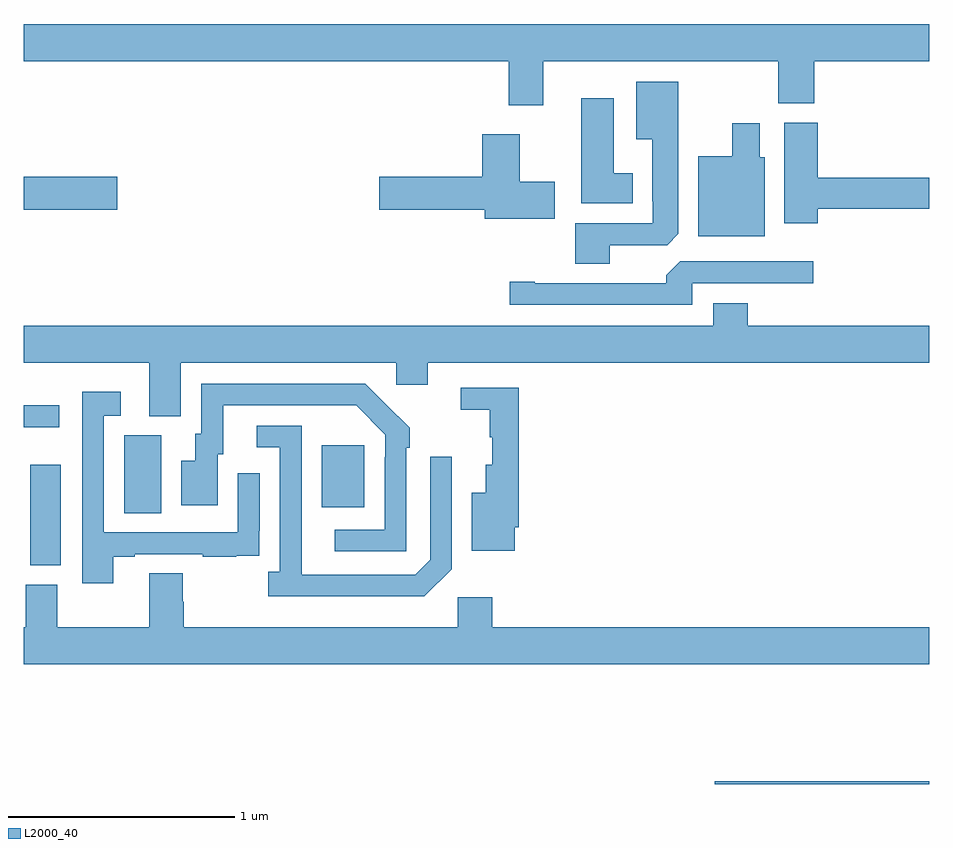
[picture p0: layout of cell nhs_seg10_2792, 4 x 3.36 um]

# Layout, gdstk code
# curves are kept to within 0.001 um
import gdstk
lib = gdstk.Library(unit=1e-6, precision=1e-09)
def R(c, l, rs):  # rectangles x0, y0, x1, y1
    for r in rs: c.add(gdstk.rectangle(r[:2], r[2:], *l))
def P(c, l, *ps):  # polygons
    for p in ps: c.add(gdstk.Polygon(p, *l))
L2000_40 = (2000, 40)

nhs_seg10_2792 = lib.new_cell('nhs_seg10_2792')
R(nhs_seg10_2792, L2000_40, [(266.051,1254.5,267,1254.512), (263.03,1255.465,263.164,1255.909), (263.444,1255.696,263.608,1256.04), (264.317,1255.721,264.505,1255.996), (263,1256.076,263.158,1256.172), (263,1257.035,263.413,1257.182)])
P(nhs_seg10_2792, L2000_40, [(265.294,1257.692),(266.332,1257.692),(266.332,1257.505),(266.492,1257.505),(266.492,1257.692),(267,1257.692),(267,1257.856),(263,1257.856),(263,1257.692),(265.142,1257.692),(265.142,1257.498),(265.294,1257.498)],
  [(265.588,1256.88),(265.842,1256.88),(265.891,1256.929),(265.891,1257.601),(265.706,1257.601),(265.706,1257.347),(265.775,1257.347),(265.775,1257.073),(265.779,1257.073),(265.779,1256.976),(265.436,1256.976),(265.436,1256.797),(265.588,1256.797)],
  [(265.69,1257.196),(265.606,1257.196),(265.606,1257.529),(265.463,1257.529),(265.463,1257.065),(265.69,1257.065)],
  [(266.507,1257.04),(267,1257.04),(267,1257.176),(266.507,1257.176),(266.507,1257.42),(266.36,1257.42),(266.36,1256.976),(266.507,1256.976)],
  [(266.272,1257.267),(266.251,1257.267),(266.251,1257.418),(266.129,1257.418),(266.129,1257.271),(265.979,1257.271),(265.979,1256.918),(266.272,1256.918)],
  [(265.345,1257.159),(265.192,1257.159),(265.192,1257.37),(265.025,1257.37),(265.025,1257.182),(264.57,1257.182),(264.57,1257.035),(265.037,1257.035),(265.037,1256.996),(265.345,1256.996)],
  [(265.953,1256.712),(266.488,1256.712),(266.488,1256.808),(265.899,1256.808),(265.838,1256.746),(265.838,1256.712),(265.258,1256.712),(265.258,1256.717),(265.146,1256.717),(265.146,1256.616),(265.953,1256.616)],
  [(263,1256.36),(263.555,1256.36),(263.555,1256.125),(263.695,1256.125),(263.695,1256.36),(264.645,1256.36),(264.645,1256.262),(264.784,1256.262),(264.784,1256.36),(267,1256.36),(267,1256.524),(266.198,1256.524),(266.198,1256.623),(266.045,1256.623),(266.045,1256.524),(263,1256.524)],
  [(264.69,1255.985),(264.705,1255.985),(264.705,1256.073),(264.508,1256.268),(263.784,1256.268),(263.784,1256.046),(263.759,1256.046),(263.759,1255.927),(263.696,1255.927),(263.696,1255.731),(263.857,1255.731),(263.857,1255.956),(263.881,1255.956),(263.881,1256.172),(264.469,1256.172),(264.597,1256.043),(264.597,1255.943),(264.594,1255.943),(264.594,1255.623),(264.375,1255.623),(264.375,1255.527),(264.69,1255.527)],
  [(265.168,1255.633),(265.187,1255.633),(265.187,1256.25),(264.93,1256.25),(264.93,1256.152),(265.059,1256.152),(265.059,1256.031),(265.07,1256.031),(265.07,1255.909),(265.04,1255.909),(265.04,1255.786),(264.98,1255.786),(264.98,1255.529),(265.168,1255.529)],
  [(263.395,1255.503),(263.491,1255.503),(263.491,1255.515),(263.791,1255.515),(263.791,1255.503),(263.939,1255.503),(263.939,1255.509),(264.041,1255.509),(264.041,1255.618),(264.042,1255.618),(264.042,1255.873),(263.946,1255.873),(263.946,1255.611),(263.355,1255.611),(263.355,1256.127),(263.428,1256.127),(263.428,1256.233),(263.259,1256.233),(263.259,1255.386),(263.395,1255.386)],
  [(264.891,1255.449),(264.891,1255.945),(264.795,1255.945),(264.795,1255.491),(264.729,1255.425),(264.229,1255.425),(264.228,1256.082),(264.03,1256.082),(264.03,1255.986),(264.132,1255.986),(264.132,1255.438),(264.081,1255.438),(264.081,1255.328),(264.77,1255.328)],
  [(267,1255.192),(265.07,1255.192),(265.07,1255.324),(264.918,1255.324),(264.918,1255.192),(263.708,1255.192),(263.708,1255.305),(263.703,1255.305),(263.703,1255.43),(263.555,1255.43),(263.555,1255.192),(263.149,1255.192),(263.149,1255.38),(263.009,1255.38),(263.009,1255.192),(263,1255.192),(263,1255.028),(267,1255.028)])

lib.write_gds('nhs_seg10_2792.gds')
